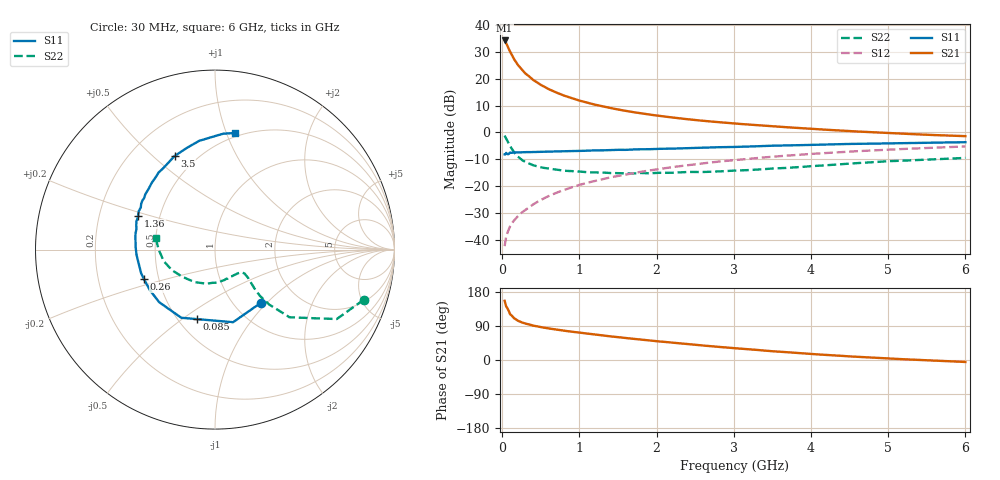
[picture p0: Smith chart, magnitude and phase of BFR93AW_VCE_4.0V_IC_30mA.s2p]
! Infineon Technologies  Discrete & RF Semiconductors
! BFR93AW
! VCE =  4.0 V,  IC =  30 mA
! Common Emitter S-Parameters:  Nov 2015
# GHz  S  MA  R  50
!  f  S11  S21  S12  S22
! GHz  MAG  ANG  MAG  ANG  MAG  ANG  MAG  ANG
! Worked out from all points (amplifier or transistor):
!   206 points, 30 MHz to 6 GHz, reference 50 ohm
!   highest |S21| = 34.2 dB at 30 MHz (marker M1)
!   |S21| within 3 dB of that: start of sweep to 82.19 MHz
!   unconditionally stable (mu >= 1): 453.8 MHz to 2.192 GHz
!   at 200 MHz: K = 0.81, MSG = 28.2 dB, |S12| = -31.2 dB
!   at 1.56 GHz: K = 1.04, MAG = 10.8 dB, |S12| = -15.8 dB
!   at 6 GHz: K = 0.91, MSG = 1.9 dB, |S12| = -5.2 dB
!   S11 on the Smith chart (normalised r, x): 30 MHz: 1.31, -0.92; 85 MHz: 0.62, -0.57; 260 MHz: 0.41, -0.17; 1.36 GHz: 0.38, +0.18; 3.5 GHz: 0.38, +0.59; 6 GHz: 0.47, +1.07
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0.03  0.3912 -49.5  51.37 156.3  0.0077 73.3  0.875 -18.6
0.05  0.4169 -76.0  45.92 141.5  0.0115 66.4  0.781 -29.7
0.085  0.4002 -104.6  35.62 128.8  0.0159 63.1  0.6228 -37.6
0.1  0.4237 -116.3  31.98 121.1  0.0179 62.2  0.5601 -42.3
0.15  0.4274 -136.8  23.29 110.4  0.023 62.5  0.4296 -45.4
0.2  0.4274 -148.1  18.2 103.9  0.0275 65.0  0.3583 -45.8
0.24  0.4272 -154.8  15.47 100.4  0.0313 65.8  0.3199 -44.9
0.26  0.4286 -157.6  14.34 98.7  0.033 66.5  0.3048 -44.4
0.3  0.4321 -162.1  12.48 95.9  0.0364 68.2  0.2831 -43.3
0.4  0.4331 -170.3  9.471 90.7  0.046 70.6  0.2457 -40.7
0.5  0.4383 -176.4  7.651 86.6  0.0557 71.3  0.2244 -39.6
0.6  0.4419 179.2  6.408 83.3  0.0657 72.2  0.2126 -39.0
0.7  0.4442 175.2  5.529 80.1  0.0755 72.6  0.2045 -39.5
0.84  0.4502 170.2  4.641 76.2  0.0894 72.6  0.1934 -41.3
1.04  0.4553 164.3  3.778 71.1  0.11 72.1  0.1856 -44.7
1.36  0.4689 156.1  2.934 63.4  0.142 70.3  0.1778 -52.8
2.02  0.4962 141.2  2.047 49.2  0.2079 65.3  0.1777 -73.7
3.1  0.5428 120.4  1.435 29.8  0.3152 55.2  0.1974 -107.5
3.5  0.5678 113.4  1.304 23.1  0.3546 51.2  0.2138 -121.9
4.1  0.5922 103.9  1.146 14.6  0.4076 44.6  0.2409 -143.2
5.1  0.6306 90.6  0.963 2.9  0.4871 33.7  0.2957 -169.9
6  0.6591 80.4  0.855 -5.2  0.55 24.3  0.3373 168.8
